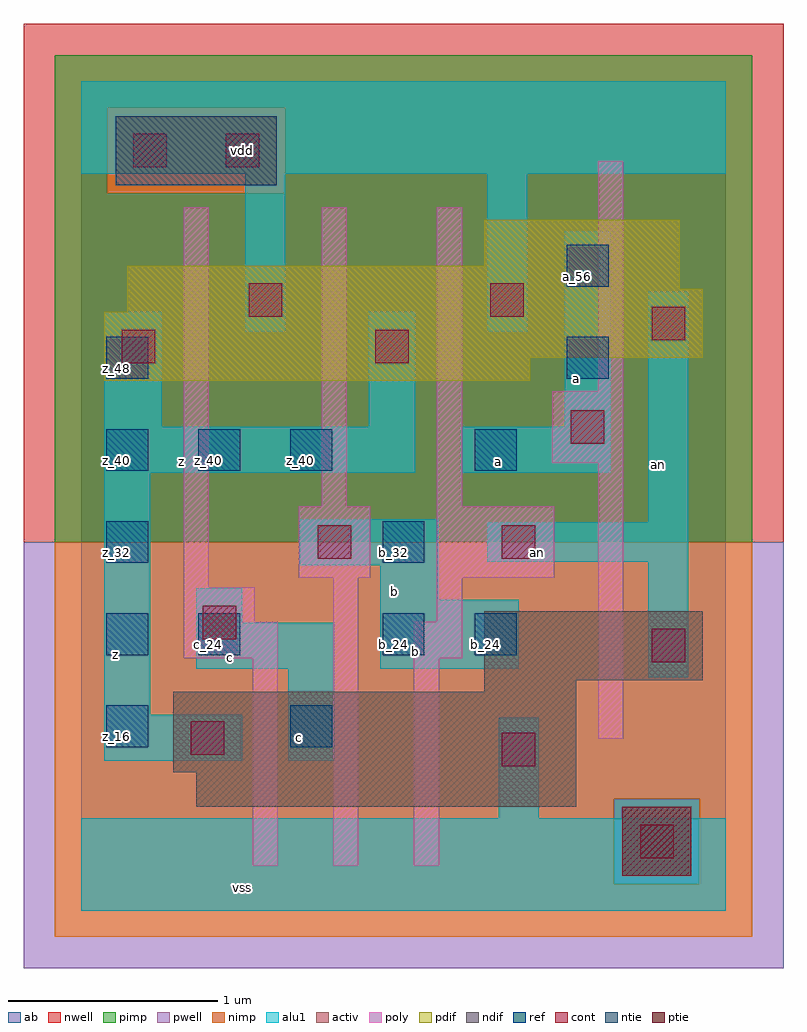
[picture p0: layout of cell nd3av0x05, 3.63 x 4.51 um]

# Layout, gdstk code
import gdstk
lib = gdstk.Library(unit=1e-6, precision=2.5e-09)
def R(c, l, rs):  # rectangles x0, y0, x1, y1
    for r in rs: c.add(gdstk.rectangle(r[:2], r[2:], *l))
def A(c, l, x, y, w, h, nx, ny, dx, dy):  # array of equal rectangles
    R(c, l, [(x+i*dx, y+j*dy, x+i*dx+w, y+j*dy+h) for i in range(nx) for j in range(ny)])
ndif = (3, 0)
pdif = (4, 0)
ntie = (5, 0)
ptie = (6, 0)
ref = (24, 0)
cont = (25, 0)
pwell = (41, 0)
nwell = (42, 0)
activ = (43, 0)
pimp = (44, 0)
nimp = (45, 0)
poly = (46, 0)
alu1 = (49, 0)
ab = (63, 0)

nd3av0x05 = lib.new_cell('nd3av0x05')
R(nd3av0x05, ndif, [(0.55,0.495,2.365,0.66), (0.44,0.66,2.365,1.045), (1.925,1.045,2.365,1.1), (1.925,1.1,2.97,1.43)])
R(nd3av0x05, pdif, [(0.11,2.53,2.145,2.64), (0.11,2.64,2.97,2.86), (0.22,2.86,2.97,2.97), (0.22,2.97,2.86,3.08), (1.925,3.08,2.86,3.3)])
R(nd3av0x05, ntie, [(0.165,3.465,0.935,3.795)])
R(nd3av0x05, ptie, [(2.585,0.165,2.915,0.495)])
A(nd3av0x05, ref, 0.12, 0.78, 0.2, 0.2, 1, 3, 0, 0.44)
A(nd3av0x05, ref, 0.12, 2.1, 0.2, 0.2, 3, 1, 0.44, 0)
R(nd3av0x05, ref, [(1,0.78,1.2,0.98), (0.56,1.22,0.76,1.42), (1.44,1.22,1.64,1.42), (1.88,1.22,2.08,1.42), (1.44,1.66,1.64,1.86), (1.88,2.1,2.08,2.3), (0.12,2.54,0.32,2.74), (2.32,2.54,2.52,2.74), (2.32,2.98,2.52,3.18)])
R(nd3av0x05, cont, [(2.67,0.25,2.83,0.41), (2.01,0.69,2.17,0.85), (0.525,0.745,0.685,0.905), (2.725,1.185,2.885,1.345), (0.58,1.295,0.74,1.455), (1.13,1.68,1.29,1.84), (2.01,1.68,2.17,1.84), (2.34,2.23,2.5,2.39), (0.195,2.615,0.355,2.775), (1.405,2.615,1.565,2.775), (2.725,2.725,2.885,2.885), (0.8,2.835,0.96,2.995), (1.955,2.835,2.115,2.995), (0.25,3.55,0.41,3.71), (0.69,3.55,0.85,3.71)])
R(nd3av0x05, pwell, [(-0.275,-0.275,3.355,1.76)])
R(nd3av0x05, nwell, [(-0.275,1.76,3.355,4.235)])
R(nd3av0x05, activ, [(2.585,0.165,2.915,0.495), (0.55,0.495,2.365,0.66), (0.44,0.66,2.365,1.045), (1.925,1.045,2.365,1.1), (1.925,1.1,2.97,1.43), (0.11,2.53,2.145,2.64), (0.11,2.64,2.97,2.86), (0.22,2.86,2.97,2.97), (0.22,2.97,2.86,3.08), (1.925,3.08,2.86,3.3), (0.165,3.465,0.935,3.795)])
R(nd3av0x05, pimp, [(2.545,0.125,2.955,0.535), (-0.125,1.76,3.205,3.425), (-0.125,3.425,0.125,3.835), (0.975,3.425,3.205,3.835), (-0.125,3.835,3.205,4.085)])
R(nd3av0x05, nimp, [(-0.125,-0.125,3.205,0.125), (-0.125,0.125,2.545,0.535), (2.955,0.125,3.205,0.535), (-0.125,0.535,3.205,1.76), (0.125,3.425,0.975,3.835)])
R(nd3av0x05, poly, [(0.82,0.215,0.94,1.205), (1.205,0.215,1.325,1.59), (1.59,0.215,1.71,1.205), (2.47,0.82,2.59,2.14), (0.49,1.205,0.94,1.38), (1.59,1.205,1.82,1.38), (0.49,1.38,0.83,1.545), (1.7,1.38,1.82,1.59), (0.49,1.545,0.61,3.36), (1.04,1.59,1.38,1.93), (1.7,1.59,2.26,1.93), (1.15,1.93,1.27,3.36), (1.7,1.93,1.82,3.36), (2.25,2.14,2.59,2.48), (2.47,2.48,2.59,3.58)])
R(nd3av0x05, alu1, [(0,0,3.08,0.44), (1.995,0.44,2.185,0.92), (0.11,0.715,0.77,0.935), (0.99,0.715,1.21,1.155), (0.11,0.935,0.33,2.09), (2.71,1.115,2.9,1.665), (0.55,1.155,1.21,1.375), (1.43,1.155,2.09,1.485), (0.55,1.375,0.77,1.54), (1.43,1.485,1.705,1.65), (1.045,1.65,1.705,1.87), (1.94,1.665,2.9,1.855), (2.71,1.855,2.9,2.955), (0.11,2.09,1.595,2.31), (1.815,2.09,2.53,2.31), (0.11,2.31,0.385,2.86), (1.375,2.31,1.595,2.86), (2.31,2.31,2.53,3.245), (0.785,2.765,0.975,3.52), (1.94,2.765,2.13,3.52), (0,3.52,3.08,3.96)])
R(nd3av0x05, ab, [(0,0,3.08,3.96)])
nd3av0x05.add(gdstk.Label('vss', (0.77,0.11), layer=49, texttype=0))
nd3av0x05.add(gdstk.Label('c', (1.045,0.825), layer=49, texttype=0))
nd3av0x05.add(gdstk.Label('b', (1.595,1.2375), layer=49, texttype=0))
nd3av0x05.add(gdstk.Label('c', (0.715,1.21), layer=49, texttype=0))
nd3av0x05.add(gdstk.Label('b', (1.4975,1.525), layer=49, texttype=0))
nd3av0x05.add(gdstk.Label('an', (2.18,1.7125), layer=49, texttype=0))
nd3av0x05.add(gdstk.Label('an', (2.7575,2.13), layer=49, texttype=0))
nd3av0x05.add(gdstk.Label('z', (0.165,1.2225), layer=49, texttype=0))
nd3av0x05.add(gdstk.Label('a', (1.9925,2.145), layer=49, texttype=0))
nd3av0x05.add(gdstk.Label('z', (0.48,2.145), layer=49, texttype=0))
nd3av0x05.add(gdstk.Label('a', (2.365,2.5425), layer=49, texttype=0))
nd3av0x05.add(gdstk.Label('vdd', (0.77,3.63), layer=49, texttype=0))
nd3av0x05.add(gdstk.Label('a_56', (2.37,3.03), layer=24, texttype=0))
nd3av0x05.add(gdstk.Label('a_48', (2.37,2.59), layer=24, texttype=0))
nd3av0x05.add(gdstk.Label('z_40', (1.05,2.15), layer=24, texttype=0))
nd3av0x05.add(gdstk.Label('z_40', (0.61,2.15), layer=24, texttype=0))
nd3av0x05.add(gdstk.Label('a_32', (1.93,2.15), layer=24, texttype=0))
nd3av0x05.add(gdstk.Label('b_24', (1.93,1.27), layer=24, texttype=0))
nd3av0x05.add(gdstk.Label('b_24', (1.49,1.27), layer=24, texttype=0))
nd3av0x05.add(gdstk.Label('b_32', (1.49,1.71), layer=24, texttype=0))
nd3av0x05.add(gdstk.Label('z_48', (0.17,2.59), layer=24, texttype=0))
nd3av0x05.add(gdstk.Label('z_40', (0.17,2.15), layer=24, texttype=0))
nd3av0x05.add(gdstk.Label('z_32', (0.17,1.71), layer=24, texttype=0))
nd3av0x05.add(gdstk.Label('z_24', (0.17,1.27), layer=24, texttype=0))
nd3av0x05.add(gdstk.Label('z_16', (0.17,0.83), layer=24, texttype=0))
nd3av0x05.add(gdstk.Label('c_16', (1.05,0.83), layer=24, texttype=0))
nd3av0x05.add(gdstk.Label('c_24', (0.61,1.27), layer=24, texttype=0))

lib.write_gds('nd3av0x05.gds')
